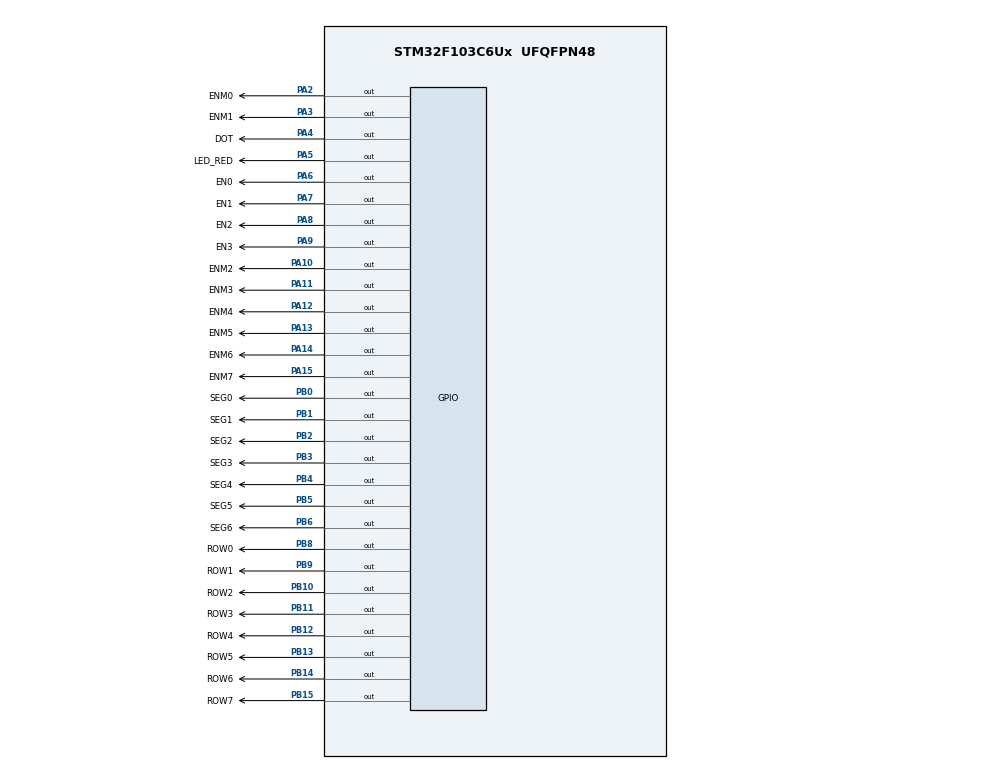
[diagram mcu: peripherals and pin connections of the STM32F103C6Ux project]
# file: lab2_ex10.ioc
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Mcu.Family=STM32F1
Mcu.Name=STM32F103C6Ux
Mcu.Package=UFQFPN48
NVIC.PriorityGroup=NVIC_PRIORITYGROUP_4
NVIC.TIM2_IRQn=true\:0\:0\:false\:false\:true\:true\:true
PA10.GPIO_Label=ENM2
PA10.Signal=GPIO_Output
PA11.GPIO_Label=ENM3
PA11.Signal=GPIO_Output
PA12.GPIO_Label=ENM4
PA12.Signal=GPIO_Output
PA13.GPIO_Label=ENM5
PA13.Signal=GPIO_Output
PA14.GPIO_Label=ENM6
PA14.Signal=GPIO_Output
PA15.GPIO_Label=ENM7
PA15.Signal=GPIO_Output
PA2.GPIO_Label=ENM0
PA2.Signal=GPIO_Output
PA3.GPIO_Label=ENM1
PA3.Signal=GPIO_Output
PA4.GPIO_Label=DOT
PA4.Signal=GPIO_Output
PA5.GPIO_Label=LED_RED
PA5.Signal=GPIO_Output
PA6.GPIO_Label=EN0
PA6.Signal=GPIO_Output
PA7.GPIO_Label=EN1
PA7.Signal=GPIO_Output
PA8.GPIO_Label=EN2
PA8.Signal=GPIO_Output
PA9.GPIO_Label=EN3
PA9.Signal=GPIO_Output
PB0.GPIO_Label=SEG0
PB0.Signal=GPIO_Output
PB1.GPIO_Label=SEG1
PB1.Signal=GPIO_Output
PB10.GPIO_Label=ROW2
PB10.Signal=GPIO_Output
PB11.GPIO_Label=ROW3
PB11.Signal=GPIO_Output
PB12.GPIO_Label=ROW4
PB12.Signal=GPIO_Output
PB13.GPIO_Label=ROW5
PB13.Signal=GPIO_Output
PB14.GPIO_Label=ROW6
PB14.Signal=GPIO_Output
PB15.GPIO_Label=ROW7
PB15.Signal=GPIO_Output
PB2.GPIO_Label=SEG2
PB2.Signal=GPIO_Output
PB3.GPIO_Label=SEG3
PB3.Signal=GPIO_Output
PB4.GPIO_Label=SEG4
PB4.Signal=GPIO_Output
PB5.GPIO_Label=SEG5
PB5.Signal=GPIO_Output
PB6.GPIO_Label=SEG6
PB6.Signal=GPIO_Output
PB8.GPIO_Label=ROW0
PB8.Signal=GPIO_Output
PB9.GPIO_Label=ROW1
PB9.Signal=GPIO_Output
ProjectManager.HeapSize=0x200
ProjectManager.StackSize=0x400
ProjectManager.TargetToolchain=STM32CubeIDE
RCC.APB1Freq_Value=8000000
RCC.APB2Freq_Value=8000000
TIM2.Period=9
TIM2.Prescaler=7999
VP_SYS_VS_ND.Mode=No_Debug
VP_TIM2_VS_ClockSourceINT.Mode=Internal
board=custom

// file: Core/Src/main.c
/* USER CODE BEGIN Header */
/**
  ******************************************************************************
  * @file           : main.c
  * @brief          : Main program body
  ******************************************************************************
  * @attention
  *
  * <h2><center>&copy; Copyright (c) 2022 STMicroelectronics.
  * All rights reserved.</center></h2>
  *
  * This software component is licensed by ST under BSD 3-Clause license,
  * the "License"; You may not use this file except in compliance with the
  * License. You may obtain a copy of the License at:
  *                        opensource.org/licenses/BSD-3-Clause
  *
  ******************************************************************************
  */
/* USER CODE END Header */
#include "control_clock_buffer.h"
#include "control_led_7SEG.h"
#include "main.h"

/* USER CODE BEGIN Includes */
#include "software_timer.h"
#include "clock.h"
#include "global.h"
#include "control_matrix.h"
/* USER CODE END Includes */

TIM_HandleTypeDef htim2;

void SystemClock_Config(void);
static void MX_GPIO_Init(void);
static void MX_TIM2_Init(void);

int main(void)
{

  /* MCU Configuration--------------------------------------------------------*/

  /* Reset of all peripherals, Initializes the Flash interface and the Systick. */
  HAL_Init();

  /* Configure the system clock */
  SystemClock_Config();

  /* Initialize all configured peripherals */
  MX_GPIO_Init();
  MX_TIM2_Init();
  /* USER CODE BEGIN 2 */

  HAL_TIM_Base_Start_IT(&htim2);

  /* USER CODE END 2 */

  /* Infinite loop */
  /* USER CODE BEGIN WHILE */
  setTimer0(1000);
  setTimer1(1000);
  setTimer2(250);
  setTimer3(200);
  setTimer4(500);
  while (1)
  {
    /* USER CODE END WHILE */
    /* USER CODE BEGIN 3 */
	  //control LED_RED and DOT
	  if(timer0_flag == 1){
	      HAL_GPIO_TogglePin(LED_RED_GPIO_Port, LED_RED_Pin);
	      HAL_GPIO_TogglePin(DOT_GPIO_Port, DOT_Pin);
	      setTimer0(1000);
	  }
	  //control update values for hour, minute and second
	  if(timer1_flag == 1){
		  clock();
		  updateClockBuffer();
		  setTimer1(1000);
	  }
	  //control led 7 segment
	  if(timer2_flag == 1){
		  if(index_led >= MAX_LED){
			  index_led = 0;
		  }
		  update7SEG(index_led++);
		  setTimer2(250);
	  }
	  // control led matrix
	  if(timer3_flag == 1){
			updateLEDMatrix(index_led_matrix++);
			if(index_led_matrix == MAX_LED_MATRIX) index_led_matrix = 0;
			setTimer3(200);
	  }
	  // control update buffer led matrix
	  if(timer4_flag == 1){
		  	updateMatrix_buffer();
			setTimer4(500);
	  }

  }
  /* USER CODE END 3 */
}

void SystemClock_Config(void)
{
  RCC_OscInitTypeDef RCC_OscInitStruct = {0};
  RCC_ClkInitTypeDef RCC_ClkInitStruct = {0};

  /** Initializes the RCC Oscillators according to the specified parameters
  * in the RCC_OscInitTypeDef structure.
  */
  RCC_OscInitStruct.OscillatorType = RCC_OSCILLATORTYPE_HSI;
  RCC_OscInitStruct.HSIState = RCC_HSI_ON;
  RCC_OscInitStruct.HSICalibrationValue = RCC_HSICALIBRATION_DEFAULT;
  RCC_OscInitStruct.PLL.PLLState = RCC_PLL_NONE;
  if (HAL_RCC_OscConfig(&RCC_OscInitStruct) != HAL_OK)
  {
    Error_Handler();
  }
  /** Initializes the CPU, AHB and APB buses clocks
  */
  RCC_ClkInitStruct.ClockType = RCC_CLOCKTYPE_HCLK|RCC_CLOCKTYPE_SYSCLK
                              |RCC_CLOCKTYPE_PCLK1|RCC_CLOCKTYPE_PCLK2;
  RCC_ClkInitStruct.SYSCLKSource = RCC_SYSCLKSOURCE_HSI;
  RCC_ClkInitStruct.AHBCLKDivider = RCC_SYSCLK_DIV1;
  RCC_ClkInitStruct.APB1CLKDivider = RCC_HCLK_DIV1;
  RCC_ClkInitStruct.APB2CLKDivider = RCC_HCLK_DIV1;

  if (HAL_RCC_ClockConfig(&RCC_ClkInitStruct, FLASH_LATENCY_0) != HAL_OK)
  {
    Error_Handler();
  }
}

static void MX_TIM2_Init(void)
{

  TIM_ClockConfigTypeDef sClockSourceConfig = {0};
  TIM_MasterConfigTypeDef sMasterConfig = {0};

  htim2.Instance = TIM2;
  htim2.Init.Prescaler = 7999;
  htim2.Init.CounterMode = TIM_COUNTERMODE_UP;
  htim2.Init.Period = 9;
  htim2.Init.ClockDivision = TIM_CLOCKDIVISION_DIV1;
  htim2.Init.AutoReloadPreload = TIM_AUTORELOAD_PRELOAD_DISABLE;
  if (HAL_TIM_Base_Init(&htim2) != HAL_OK)
  {
    Error_Handler();
  }
  sClockSourceConfig.ClockSource = TIM_CLOCKSOURCE_INTERNAL;
  if (HAL_TIM_ConfigClockSource(&htim2, &sClockSourceConfig) != HAL_OK)
  {
    Error_Handler();
  }
  sMasterConfig.MasterOutputTrigger = TIM_TRGO_RESET;
  sMasterConfig.MasterSlaveMode = TIM_MASTERSLAVEMODE_DISABLE;
  if (HAL_TIMEx_MasterConfigSynchronization(&htim2, &sMasterConfig) != HAL_OK)
  {
    Error_Handler();
  }

}

static void MX_GPIO_Init(void)
{
  GPIO_InitTypeDef GPIO_InitStruct = {0};

  /* GPIO Ports Clock Enable */
  __HAL_RCC_GPIOA_CLK_ENABLE();
  __HAL_RCC_GPIOB_CLK_ENABLE();

  /*Configure GPIO pin Output Level */
  HAL_GPIO_WritePin(GPIOA, ENM0_Pin|ENM1_Pin|DOT_Pin|LED_RED_Pin
                          |EN0_Pin|EN1_Pin|EN2_Pin|EN3_Pin
                          |ENM2_Pin|ENM3_Pin|ENM4_Pin|ENM5_Pin
                          |ENM6_Pin|ENM7_Pin, GPIO_PIN_RESET);

  /*Configure GPIO pin Output Level */
  HAL_GPIO_WritePin(GPIOB, SEG0_Pin|SEG1_Pin|SEG2_Pin|ROW2_Pin
                          |ROW3_Pin|ROW4_Pin|ROW5_Pin|ROW6_Pin
                          |ROW7_Pin|SEG3_Pin|SEG4_Pin|SEG5_Pin
                          |SEG6_Pin|ROW0_Pin|ROW1_Pin, GPIO_PIN_RESET);

  /*Configure GPIO pins : ENM0_Pin ENM1_Pin DOT_Pin LED_RED_Pin
                           EN0_Pin EN1_Pin EN2_Pin EN3_Pin
                           ENM2_Pin ENM3_Pin ENM4_Pin ENM5_Pin
                           ENM6_Pin ENM7_Pin */
  GPIO_InitStruct.Pin = ENM0_Pin|ENM1_Pin|DOT_Pin|LED_RED_Pin
                          |EN0_Pin|EN1_Pin|EN2_Pin|EN3_Pin
                          |ENM2_Pin|ENM3_Pin|ENM4_Pin|ENM5_Pin
                          |ENM6_Pin|ENM7_Pin;
  GPIO_InitStruct.Mode = GPIO_MODE_OUTPUT_PP;
  GPIO_InitStruct.Pull = GPIO_NOPULL;
  GPIO_InitStruct.Speed = GPIO_SPEED_FREQ_LOW;
  HAL_GPIO_Init(GPIOA, &GPIO_InitStruct);

  /*Configure GPIO pins : SEG0_Pin SEG1_Pin SEG2_Pin ROW2_Pin
                           ROW3_Pin ROW4_Pin ROW5_Pin ROW6_Pin
                           ROW7_Pin SEG3_Pin SEG4_Pin SEG5_Pin
                           SEG6_Pin ROW0_Pin ROW1_Pin */
  GPIO_InitStruct.Pin = SEG0_Pin|SEG1_Pin|SEG2_Pin|ROW2_Pin
                          |ROW3_Pin|ROW4_Pin|ROW5_Pin|ROW6_Pin
                          |ROW7_Pin|SEG3_Pin|SEG4_Pin|SEG5_Pin
                          |SEG6_Pin|ROW0_Pin|ROW1_Pin;
  GPIO_InitStruct.Mode = GPIO_MODE_OUTPUT_PP;
  GPIO_InitStruct.Pull = GPIO_NOPULL;
  GPIO_InitStruct.Speed = GPIO_SPEED_FREQ_LOW;
  HAL_GPIO_Init(GPIOB, &GPIO_InitStruct);

}

/* USER CODE BEGIN 4 */
void HAL_TIM_PeriodElapsedCallback(TIM_HandleTypeDef *htim){
	//software timer
	timer_run();
}
/* USER CODE END 4 */

void Error_Handler(void)
{
  __disable_irq();
  while (1)
  {
  }
}

/************************ (C) COPYRIGHT STMicroelectronics *****END OF FILE****/
